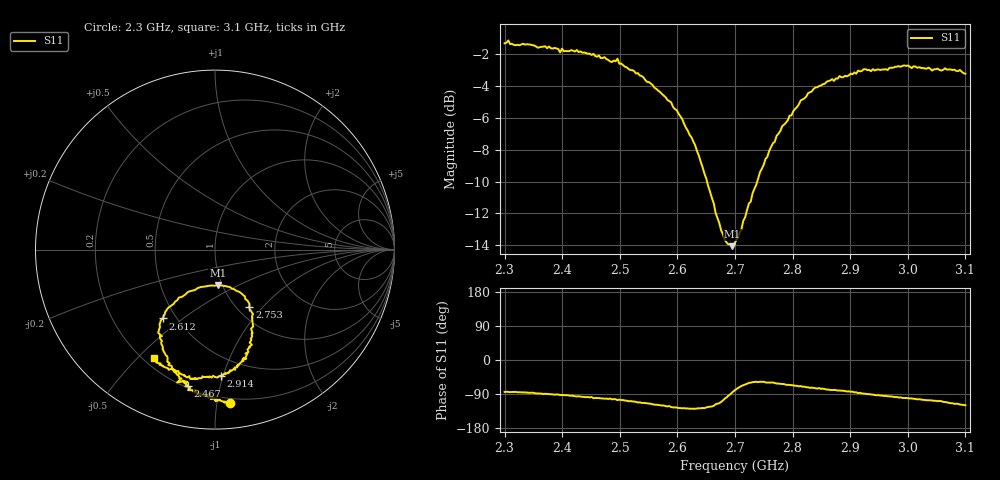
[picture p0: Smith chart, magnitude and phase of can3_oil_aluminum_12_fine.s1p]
# MHz S MA R 50
!  freq  S11
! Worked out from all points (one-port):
!   250 points, 2.3 GHz to 3.1 GHz, reference 50 ohm
!   lowest |S11| = -14.1 dB at 2.695 GHz (marker M1), VSWR 1.49, Z = 47.6 - j19.6 ohm
!   |S11| at or under -10 dB: 2.651 GHz to 2.739 GHz (87.1 MHz wide, 3.23 % of centre)
!   S11 on the Smith chart (normalised r, x): 2.3 GHz: 0.16, -1.09; 2.467 GHz: 0.21, -0.80; 2.612 GHz: 0.43, -0.42; 2.753 GHz: 1.14, -0.85; 2.914 GHz: 0.35, -0.98; 3.1 GHz: 0.24, -0.56
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2300  0.8607 -84.3
2348.193  0.8494 -86.1
2367.47  0.8403 -89.8
2402.811  0.8128 -92.4
2441.365  0.8019 -98.1
2451.004  0.7912 -97.4
2454.217  0.7971 -100.9
2467.068  0.7724 -101.3
2483.133  0.755 -101.6
2495.984  0.77 -106.0
2502.41  0.7435 -105.6
2560.241  0.6238 -117.9
2602.008  0.5172 -126.7
2611.647  0.4802 -127.0
2646.988  0.3346 -127.1
2682.329  0.2071 -101.7
2695.181  0.1982 -85.6
2701.606  0.2056 -77.6
2724.096  0.2699 -60.3
2753.012  0.3728 -59.1
2801.205  0.5265 -66.8
2839.759  0.6253 -74.4
2900.803  0.691 -83.7
2913.655  0.7063 -87.4
3000.402  0.7329 -100.8
3058.233  0.7064 -108.7
3080.723  0.7114 -115.8
3100  0.6905 -119.4
